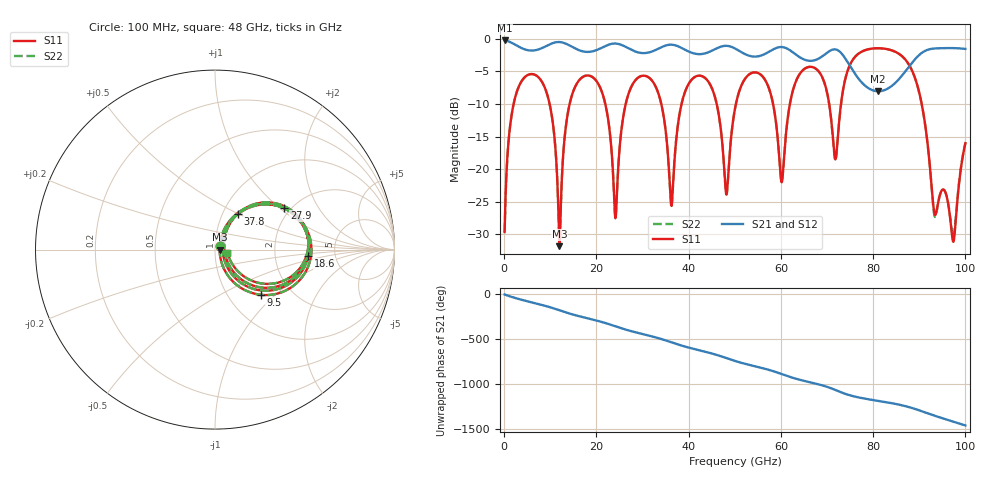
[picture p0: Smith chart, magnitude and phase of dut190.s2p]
! Touchstone file exported from HFSS 2026.1.0
!  File:  C:/ffzhzh/LocalFiles/Ansys_Project_Files/temp_test_TSV_RDL_190_1783478280_48356.aedt
!  Generated:  11:13:34 AM Jul  8, 2026
!  Design:  TSV_RDL
!  Project:  temp_test_TSV_RDL_190_1783478280_48356
! Variables:
!  h_bsmrdl = 2.93um
!  h_ox = 20um
!  h_rdl = 5um
!  h_sub = 88.49um
!  h_tmrdl = 3.95um
!  h_tsv = 88.49um
!  h_via = 3um
!  l_bsmrdl = 613.13um
!  l_sub = 4929.99um
!  l_tmrdl = 645.59um
!  m_sub = 200um
!  pitch = 41.42um
!  r_tsv = 5.66um
!  s_tmrdl = 10um
!  w_bsmrdl = 18.38um
!  w_sub = 500um
!  w_tmrdl = 17.7um
!  x_tsv_center1 = 654.44um
!  x_tsv_center2 = 1285.95um
!  x_tsv_center3 = 1949.24um
!  x_tsv_center4 = 2580.75um
!  x_tsv_center5 = 3244.04um
!  x_tsv_center6 = 3875.55um
# GHz S MA R 50.000000
! Terminal data exported
! Port[1] = TM_RDL1_1_T1
! Port[2] = TM_RDL5_1_T1
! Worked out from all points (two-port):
!   1000 points, 100 MHz to 100 GHz, reference 50 ohm
!   highest |S21| = -0.24 dB at 100 MHz (marker M1); lowest = -8.0 dB at 81.1 GHz (marker M2)
!   |S21| within 3 dB of the highest: start of sweep to 65.31 GHz; 88.94 GHz to end of sweep (the widest 2 of 3)
!   lowest |S11| = -31.8 dB at 12 GHz (marker M3), VSWR 1.05, Z = 52.6 - j0.102 ohm
!   |S11| at or under -10 dB: 21.94 GHz to 26.35 GHz (4.416 GHz wide, 18.3 % of centre); 34.07 GHz to 38.46 GHz (4.384 GHz wide, 12.1 % of centre); 90.53 GHz to end of sweep (the widest 3 of 8)
!   |S22| runs from -31.8 to -1.4 dB; largest |S21 - S12| = 4.9e-12
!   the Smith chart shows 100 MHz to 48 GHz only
!   S11 on the Smith chart (normalised r, x): 100 MHz: 1.06, +0.04; 9.5 GHz: 1.41, -0.81; 18.6 GHz: 3.14, -0.31; 27.9 GHz: 1.85, +1.08; 37.8 GHz: 1.18, +0.50; 48 GHz: 1.15, -0.04
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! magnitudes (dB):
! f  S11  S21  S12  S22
! 100 MHz  -29.6  -0.2  -0.2  -29.6
! 3 GHz  -7.6  -1.1  -1.1  -7.6
! 9.5 GHz  -8.9  -1.0  -1.0  -8.9
! 12 GHz  -31.8  -0.5  -0.5  -31.8
! 16.8 GHz  -6.0  -1.9  -1.9  -6.0
! 18.6 GHz  -5.7  -2.0  -2.0  -5.7
! 24.1 GHz  -27.5  -0.7  -0.7  -27.5
! 27.9 GHz  -6.9  -1.8  -1.8  -6.9
! 33.4 GHz  -8.3  -1.5  -1.5  -8.3
! 36.2 GHz  -25.5  -0.9  -0.9  -25.6
! 37.8 GHz  -12.5  -1.2  -1.2  -12.5
! 44 GHz  -6.3  -2.1  -2.1  -6.3
! 48 GHz  -22.9  -1.1  -1.1  -22.9
! 50.1 GHz  -10.5  -1.5  -1.5  -10.5
! 56.3 GHz  -6.0  -2.4  -2.4  -6.0
! 60.2 GHz  -22.0  -1.3  -1.3  -21.9
! 66.7 GHz  -4.3  -3.4  -3.4  -4.3
! 71.8 GHz  -18.5  -1.6  -1.6  -18.6
! 81.1 GHz  -1.4  -8.0  -8.0  -1.4
! 83.4 GHz  -1.6  -7.5  -7.5  -1.6
! 93.4 GHz  -27.0  -1.5  -1.5  -27.3
! 100 GHz  -16.0  -1.5  -1.5  -16.0
